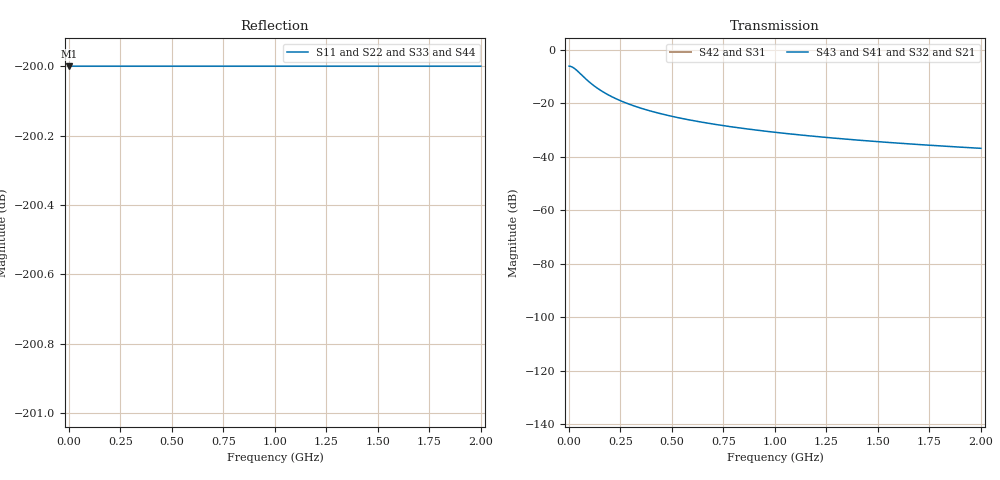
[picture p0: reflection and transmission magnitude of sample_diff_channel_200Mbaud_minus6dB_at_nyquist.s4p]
! Synthetic matched 4-port differential channel for CTLE verification
! Symbol rate = 200.0E+06 Baud; Nyquist = 100.0E+06 Hz
! Differential mapping: TX+ P1, TX- P3, RX+ P2, RX- P4
! Sdd21 magnitude = -6.000 dB at Nyquist; one-pole causal low-pass + 1.8 ns delay
! Channel pole = 5.791803096e+07 Hz
! Touchstone 1.x column-major order: S11,S21,S31,S41,S12,...,S44
# HZ S RI R 50
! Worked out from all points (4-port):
!   2000 points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, 1 MHz to 2 GHz, reference 50 ohm
!   strongest paths, dB at 1 MHz, 501 MHz, 1.001 GHz, 1.501 GHz, 2 GHz:
!     S43: -6.0, -24.8, -30.8, -34.3, -36.8
!     S41: -6.0, -24.8, -30.8, -34.3, -36.8
!     S32: -6.0, -24.8, -30.8, -34.3, -36.8
!     S21: -6.0, -24.8, -30.8, -34.3, -36.8
!     S42: -, -, -, -, -
!     S31: -, -, -, -, -
!   lowest |S11| = - dB at 1 MHz (marker M1), VSWR 1.00, Z = 50 + j0 ohm
!   |S11| at or under -10 dB: start of sweep to end of sweep
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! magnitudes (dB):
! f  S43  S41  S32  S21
! 1 MHz  -6.0  -6.0  -6.0  -6.0
! 139 MHz  -14.3  -14.3  -14.3  -14.3
! 232 MHz  -18.3  -18.3  -18.3  -18.3
! 374 MHz  -22.3  -22.3  -22.3  -22.3
! 559 MHz  -25.8  -25.8  -25.8  -25.8
! 1.133 GHz  -31.9  -31.9  -31.9  -31.9
! 2 GHz  -36.8  -36.8  -36.8  -36.8
